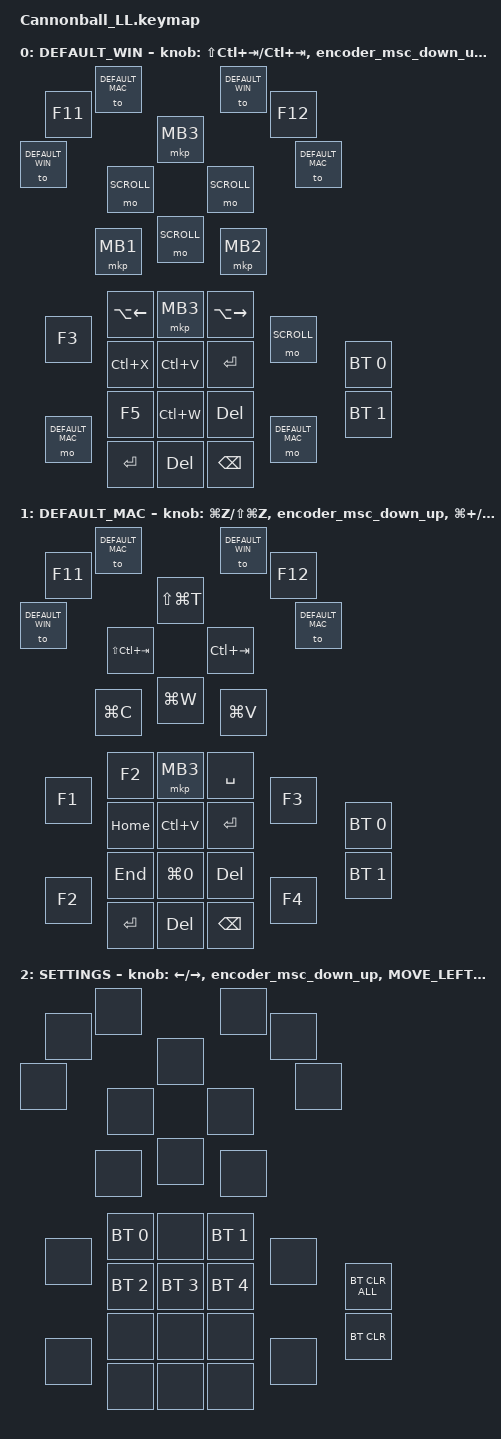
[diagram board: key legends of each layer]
#include <behaviors.dtsi>
#include <dt-bindings/zmk/bt.h>
#include <dt-bindings/zmk/keys.h>
#include <dt-bindings/zmk/pointing.h>
#include <dt-bindings/zmk/input_transform.h>
//#define ZMK_POINTING_DEFAULT_SCRL_VAL 80
#define DEFAULT_WIN 0
#define DEFAULT_MAC 1
#define SCROLL 2

/ {
    /* Behaviors */
    // スクロール設定
    msc {
        acceleration-exponent = <0>;      // 0
        time-to-max-speed-ms = <0>;     // 300
        delay-ms = <0>;                   // 10
    };
    // エンコーダー：キー
    behaviors {
        rot_kp: sensor_rotate_kp {
            compatible = "zmk,behavior-sensor-rotate-var";
            #sensor-binding-cells = <2>;
            bindings = <&kp>, <&kp>;
        };
    };
    // エンコーダー：マウススクロール
    behaviors {
        rot_msc: sensor_rotate_msc {
            compatible = "zmk,behavior-sensor-rotate-var";
            #sensor-binding-cells = <2>;
            tap-ms = <20>;
            bindings = <&msc>, <&msc>;
        };
    };

    behaviors {
        encoder_msc_down_up: encoder_msc_down_up {
            compatible = "zmk,behavior-sensor-rotate";
            label = "ENCODER_MSC_DOWN_UP";
            #sensor-binding-cells = <0>;
            bindings = <&msc SCRL_UP>, <&msc SCRL_DOWN>;
            tap-ms = <20>;
        };
    };

    /* キーマップ */
    keymap {
        compatible = "zmk,keymap";

        // WINDOWS用
    	DEFAULT_WIN {
            bindings = <
                // Key
                &kp LA(RIGHT)   &kp ENTER   &kp DEL    &kp BSPC
                &mkp MB3   &kp LC(V) &kp LC(W)   &kp DEL
                &kp LA(LEFT)   &kp LC(X)    &kp F5  &kp RET
                // Mouse
                &mkp MB1 &mkp MB2
                // Stick
                &mkp MB3 &mo SCROLL &mo SCROLL &mo SCROLL
                // Lever
                &to DEFAULT_WIN &kp F11 &to DEFAULT_MAC
                &to DEFAULT_WIN &kp F12 &to DEFAULT_MAC
                // Side
                &kp F3 &mo DEFAULT_MAC &mo SCROLL &mo DEFAULT_MAC
                // Back
                &bt BT_SEL 0 &bt BT_SEL 1
    	    >;
            sensor-bindings = <&rot_kp LS(LC(TAB)) LC(TAB)>, <&encoder_msc_down_up>, <&rot_kp RIGHT LEFT>;
    	};

        // MacOS用
    	DEFAULT_MAC {
            bindings = <
                // Key
                &kp SPACE   &kp ENTER   &kp DEL    &kp BSPC
                &mkp MB3   &kp LC(V) &kp LG(N0)   &kp DEL
                &kp F2   &kp HOME    &kp END  &kp RET
                // Mouse
                &kp LG(C) &kp LG(V)
                // Stick
                &kp LS(LG(T)) &kp LS(LC(TAB)) &kp LG(W) &kp LC(TAB)
                // Lever
                &to DEFAULT_WIN &kp F11 &to DEFAULT_MAC
                &to DEFAULT_WIN &kp F12 &to DEFAULT_MAC
                // Side
                &kp F1 &kp F2 &kp F3 &kp F4
                // Back
                &bt BT_SEL 0 &bt BT_SEL 1
    	    >;
            sensor-bindings = <&rot_kp LG(Z) LS(LG(Z))>, <&encoder_msc_down_up>, <&rot_kp LG(PLUS) LG(MINUS)>;
    	};

        // BT設定、スクロールレイヤー
        SETTINGS {
            bindings = <
                // Key
                &bt BT_SEL 1 &bt BT_SEL 4 &none &none
                &none &bt BT_SEL 3 &none &none
                &bt BT_SEL 0 &bt BT_SEL 2 &none &none
                // Mouse
                &none &none
                // Stick
                &none &none &none &none
                // Lever
                &none &none &none
                &none &none &none
                // Side
                &none &none &none &none
                // Back
                &bt BT_CLR_ALL &bt BT_CLR
    	    >;
            sensor-bindings = <&rot_kp LEFT RIGHT>, <&encoder_msc_down_up>, <&rot_msc MOVE_LEFT MOVE_RIGHT>;
    	};
    };
};
